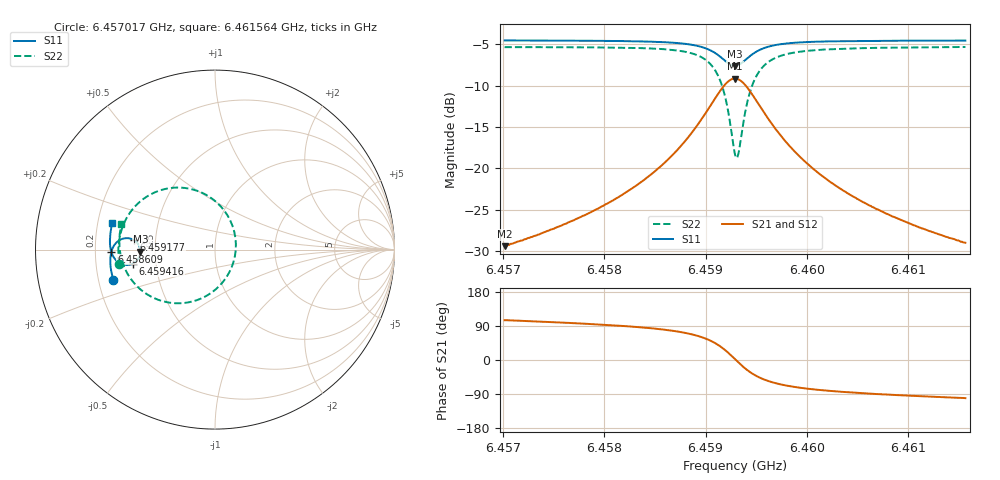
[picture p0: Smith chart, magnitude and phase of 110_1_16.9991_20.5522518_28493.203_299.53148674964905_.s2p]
#  HZ  S  RI  R  50.00
! Rohde & Schwarz Vector Network Analyzer
! Rohde-Schwarz,ZNB20-2Port,1311601062101988,3.16
! Created: UTC 3/20/2024, 10:56:59 PM
! freq[Hz]  re:S11  im:S11  re:S21  im:S21  re:S12  im:S12  re:S22  im:S22
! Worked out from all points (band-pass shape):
!   401 points, 6.457017 GHz to 6.461564 GHz, reference 50 ohm
!   highest |S21| = -9.15 dB at 6.459291 GHz (marker M1); lowest = -29.4 dB at 6.457017 GHz (marker M2)
!   |S21| within 3 dB of the highest: 6.459063 GHz to 6.459518 GHz (455.5 kHz wide, 0.00705 % of centre)
!   lowest |S11| = -7.6 dB at 6.459291 GHz (marker M3), VSWR 2.42, Z = 20.6 - j0.542 ohm
!   |S11| at or under -10 dB: nowhere
!   |S22| runs from -18.7 to -5.3 dB; largest |S21 - S12| = 0.014
!   S11 on the Smith chart (normalised r, x): 6.457017 GHz: 0.26, -0.14; 6.458609 GHz: 0.27, -0.01; 6.459177 GHz: 0.38, +0.05; 6.459416 GHz: 0.37, -0.07; 6.461564 GHz: 0.26, +0.12
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6.4570171e9  -0.5669 -0.1705  -0.00876 0.0328  -0.00708 0.0327  -0.5334 -0.0807
6.4577787e9  -0.5807 -0.1036  -0.0055 0.051  -0.00297 0.0503  -0.5382 0.00913
6.4581993e9  -0.5833 -0.0613  0.000564 0.0707  0.00385 0.0693  -0.5296 0.0763
6.4585404e9  -0.5795 -0.0202  0.0147 0.0998  0.0186 0.097  -0.5036 0.154
6.4586086e9  -0.5771 -0.0106  0.0201 0.1083  0.0242 0.105  -0.4935 0.174
6.4588018e9  -0.5644 0.0199  0.0469 0.1395  0.0511 0.1345  -0.4429 0.2434
6.4589496e9  -0.5414 0.0463  0.0928 0.1701  0.0958 0.1634  -0.3587 0.3079
6.459086e9  -0.497 0.0637  0.181 0.1865  0.1818 0.1791  -0.1977 0.3456
6.459177e9  -0.4519 0.053  0.2716 0.1546  0.2717 0.1486  -0.0303 0.2935
6.4592452e9  -0.4225 0.0205  0.3322 0.0818  0.3345 0.0765  0.0849 0.1625
6.4592906e9  -0.4158 -0.0109  0.3484 0.0133  0.3521 0.00624  0.1163 0.0345
6.459302e9  -0.4161 -0.0192  0.3482 -0.00466  0.3521 -0.0123  0.1157 0.000574
6.4593247e9  -0.4197 -0.0349  0.3425 -0.0396  0.3463 -0.0487  0.104 -0.0654
6.4593702e9  -0.4355 -0.0613  0.3135 -0.0997  0.3157 -0.1118  0.0455 -0.1787
6.4594157e9  -0.4577 -0.0778  0.2711 -0.1409  0.2701 -0.1543  -0.0404 -0.2536
6.4595066e9  -0.5016 -0.0849  0.1855 -0.172  0.1793 -0.1837  -0.2103 -0.2991
6.4596544e9  -0.5458 -0.0645  0.097 -0.1581  0.0885 -0.1643  -0.3785 -0.2489
6.4598136e9  -0.5678 -0.0368  0.052 -0.1299  0.0441 -0.1327  -0.4591 -0.1765
6.4600523e9  -0.5807 -0.00146  0.0225 -0.0981  0.0166 -0.0987  -0.507 -0.0936
6.4603933e9  -0.5854 0.0395  0.00631 -0.071  0.00234 -0.0706  -0.5286 -0.0144
6.4608139e9  -0.5838 0.082  -0.00139 -0.0523  -0.00421 -0.0515  -0.5328 0.0535
6.4615642e9  -0.5719 0.1487  -0.00658 -0.035  -0.00828 -0.0339  -0.5216 0.1427
